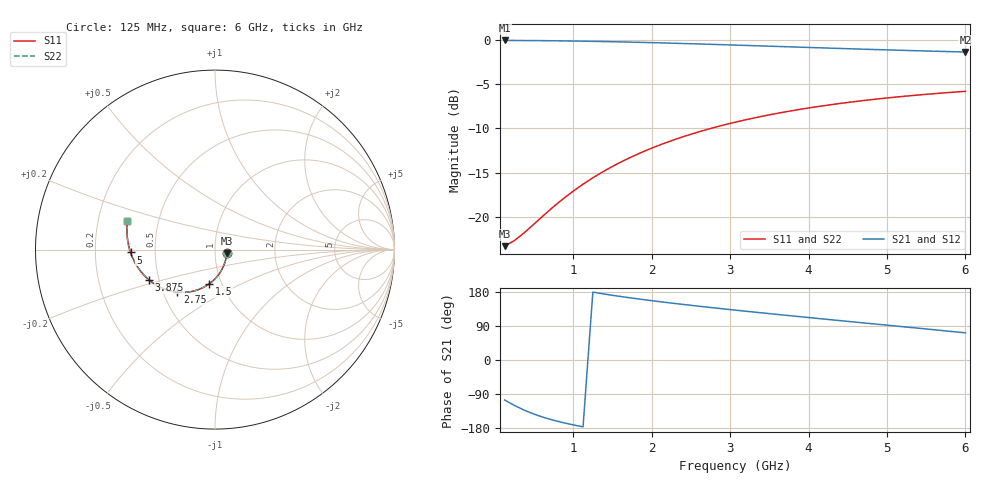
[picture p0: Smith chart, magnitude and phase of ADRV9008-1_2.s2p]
! S1P to S2P converted from file: C:\GitWork\Spar\Data\ADRV9008-1.s1p
! Spar Program version 0.4
# HZ S MA R 50
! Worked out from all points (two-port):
!   48 points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, 125 MHz to 6 GHz, reference 50 ohm
!   highest |S21| = -0.02 dB at 125 MHz (marker M1); lowest = -1.3 dB at 6 GHz (marker M2)
!   |S21| within 3 dB of the highest: start of sweep to end of sweep
!   lowest |S11| = -23.3 dB at 125 MHz (marker M3), VSWR 1.15, Z = 57 - j2.09 ohm
!   |S11| at or under -10 dB: start of sweep to 2.752 GHz
!   |S22| runs from -23.3 to -5.8 dB; largest |S21 - S12| = 0
!   S11 on the Smith chart (normalised r, x): 125 MHz: 1.14, -0.04; 1.5 GHz: 0.88, -0.35; 2.75 GHz: 0.59, -0.31; 3.875 GHz: 0.44, -0.18; 5 GHz: 0.36, -0.01; 6 GHz: 0.33, +0.14
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1.25e8  0.06806 -15.6  0.9977 -105.6  0.9977 -105.6  0.06806 -15.6
2.5e8  0.07322 -29.9  0.9973 -119.9  0.9973 -119.9  0.07322 -29.9
3.75e8  0.08107 -42.3  0.9967 -132.3  0.9967 -132.3  0.08107 -42.3
5e8  0.09086 -52.8  0.9959 -142.8  0.9959 -142.8  0.09086 -52.8
6.25e8  0.102 -61.6  0.9948 -151.6  0.9948 -151.6  0.102 -61.6
7.5e8  0.114 -69.0  0.9935 -159.0  0.9935 -159.0  0.114 -69.0
8.75e8  0.1266 -75.5  0.9919 -165.5  0.9919 -165.5  0.1266 -75.5
1.125e9  0.1528 -86.3  0.9883 -176.3  0.9883 -176.3  0.1528 -86.3
1.5e9  0.1927 -99.3  0.9813 170.7  0.9813 170.7  0.1927 -99.3
1.75e9  0.219 -106.7  0.9757 163.3  0.9757 163.3  0.219 -106.7
2.125e9  0.2571 -116.6  0.9664 153.4  0.9664 153.4  0.2571 -116.6
2.375e9  0.2815 -122.7  0.9596 147.3  0.9596 147.3  0.2815 -122.7
2.75e9  0.3161 -131.4  0.9487 138.6  0.9487 138.6  0.3161 -131.4
3.125e9  0.3482 -139.7  0.9374 130.3  0.9374 130.3  0.3482 -139.7
3.5e9  0.3778 -147.6  0.9259 122.4  0.9259 122.4  0.3778 -147.6
3.875e9  0.4048 -155.4  0.9144 114.6  0.9144 114.6  0.4048 -155.4
4.125e9  0.4213 -160.5  0.9069 109.5  0.9069 109.5  0.4213 -160.5
4.5e9  0.4441 -168.1  0.896 101.9  0.896 101.9  0.4441 -168.1
5e9  0.4709 -178.1  0.8822 91.9  0.8822 91.9  0.4709 -178.1
5.125e9  0.477 179.4  0.8789 89.4  0.8789 89.4  0.477 179.4
5.5e9  0.4939 171.9  0.8695 81.9  0.8695 81.9  0.4939 171.9
6e9  0.5135 161.7  0.8581 71.7  0.8581 71.7  0.5135 161.7
